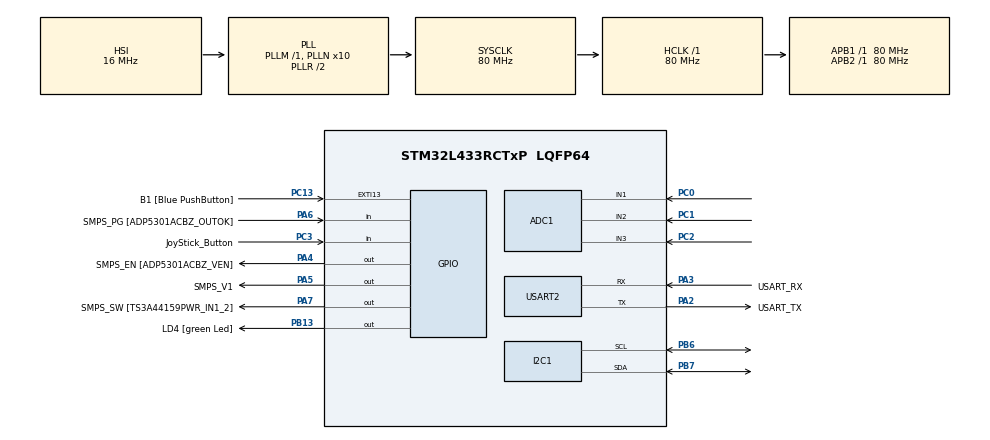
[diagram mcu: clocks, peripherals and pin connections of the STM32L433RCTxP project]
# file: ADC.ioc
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ADC1.Channel-1\#ChannelRegularConversion=ADC_CHANNEL_1
ADC1.Channel-4\#ChannelRegularConversion=ADC_CHANNEL_2
ADC1.Channel-5\#ChannelRegularConversion=ADC_CHANNEL_3
ADC1.ClockPrescaler=ADC_CLOCK_ASYNC_DIV4
ADC1.ContinuousConvMode=ENABLE
ADC1.EOCSelection=ADC_EOC_SINGLE_CONV
ADC1.NbrOfConversion=3
ADC1.NbrOfConversionFlag=1
ADC1.OffsetNumber-1\#ChannelRegularConversion=ADC_OFFSET_NONE
ADC1.OffsetNumber-4\#ChannelRegularConversion=ADC_OFFSET_NONE
ADC1.OffsetNumber-5\#ChannelRegularConversion=ADC_OFFSET_NONE
ADC1.Rank-1\#ChannelRegularConversion=1
ADC1.Rank-4\#ChannelRegularConversion=2
ADC1.Rank-5\#ChannelRegularConversion=3
ADC1.SamplingTime-1\#ChannelRegularConversion=ADC_SAMPLETIME_640CYCLES_5
ADC1.SamplingTime-4\#ChannelRegularConversion=ADC_SAMPLETIME_640CYCLES_5
ADC1.SamplingTime-5\#ChannelRegularConversion=ADC_SAMPLETIME_640CYCLES_5
ADC1.master=1
I2C1.Timing=0x10D19CE4
Mcu.Family=STM32L4
Mcu.Name=STM32L433RCTxP
Mcu.Package=LQFP64
NVIC.ADC1_IRQn=true\:0\:0\:false\:false\:true\:true\:true\:true
NVIC.PriorityGroup=NVIC_PRIORITYGROUP_4
NVIC.TIM6_DAC_IRQn=true\:0\:0\:false\:false\:true\:true\:true\:true
PA13\ (JTMS-SWDIO).GPIO_Label=TMS
PA13\ (JTMS-SWDIO).Mode=Serial_Wire
PA13\ (JTMS-SWDIO).Signal=SYS_JTMS-SWDIO
PA14\ (JTCK-SWCLK).GPIO_Label=TCK
PA14\ (JTCK-SWCLK).Mode=Serial_Wire
PA14\ (JTCK-SWCLK).Signal=SYS_JTCK-SWCLK
PA2.GPIO_Label=USART_TX
PA2.GPIO_Mode=GPIO_MODE_AF_PP
PA2.GPIO_PuPd=GPIO_NOPULL
PA2.GPIO_Speed=GPIO_SPEED_FREQ_VERY_HIGH
PA2.Mode=Asynchronous
PA2.Signal=USART2_TX
PA3.GPIO_Label=USART_RX
PA3.GPIO_Mode=GPIO_MODE_AF_PP
PA3.GPIO_PuPd=GPIO_NOPULL
PA3.GPIO_Speed=GPIO_SPEED_FREQ_VERY_HIGH
PA3.Mode=Asynchronous
PA3.Signal=USART2_RX
PA4.GPIO_Label=SMPS_EN [ADP5301ACBZ_VEN]
PA4.Signal=GPIO_Output
PA5.GPIO_Label=SMPS_V1
PA5.GPIO_ModeDefaultOutputPP=GPIO_MODE_OUTPUT_PP
PA5.GPIO_PuPd=GPIO_NOPULL
PA5.GPIO_Speed=GPIO_SPEED_FREQ_LOW
PA5.Signal=GPIO_Output
PA6.GPIO_Label=SMPS_PG [ADP5301ACBZ_OUTOK]
PA6.GPIO_PuPd=GPIO_PULLUP
PA6.Signal=GPIO_Input
PA7.GPIO_Label=SMPS_SW [TS3A44159PWR_IN1_2]
PA7.Signal=GPIO_Output
PB13.GPIO_Label=LD4 [green Led]
PB13.Signal=GPIO_Output
PB3\ (JTDO-TRACESWO).GPIO_Label=SWO
PB3\ (JTDO-TRACESWO).Signal=SYS_JTDO-SWO
PB6.Mode=I2C
PB6.Signal=I2C1_SCL
PB7.Mode=I2C
PB7.Signal=I2C1_SDA
PC0.Signal=ADCx_IN1
PC1.Signal=ADCx_IN2
PC13.GPIO_Label=B1 [Blue PushButton]
PC13.GPIO_ModeDefaultEXTI=GPIO_MODE_IT_FALLING
PC13.GPIO_PuPd=GPIO_NOPULL
PC13.Signal=GPXTI13
PC14-OSC32_IN\ (PC14).Mode=LSE-External-Oscillator
PC14-OSC32_IN\ (PC14).Signal=RCC_OSC32_IN
PC15-OSC32_OUT\ (PC15).Mode=LSE-External-Oscillator
PC15-OSC32_OUT\ (PC15).Signal=RCC_OSC32_OUT
PC2.Signal=ADCx_IN3
PC3.GPIO_Label=JoyStick_Button
PC3.Signal=GPIO_Input
PH0-OSC_IN\ (PH0).GPIO_Label=MCO
PH0-OSC_IN\ (PH0).Mode=HSE-External-Clock-Source
PH0-OSC_IN\ (PH0).Signal=RCC_OSC_IN
PH1-OSC_OUT\ (PH1).Signal=RCC_OSC_OUT
ProjectManager.HeapSize=0x200
ProjectManager.StackSize=0x400
ProjectManager.TargetToolchain=STM32CubeIDE
RCC.ADCFreq_Value=64000000
RCC.AHBFreq_Value=80000000
RCC.APB1Freq_Value=80000000
RCC.APB1TimFreq_Value=80000000
RCC.APB2Freq_Value=80000000
RCC.APB2TimFreq_Value=80000000
RCC.CortexFreq_Value=80000000
RCC.HCLKFreq_Value=80000000
RCC.HSE_VALUE=8000000
RCC.HSI48_VALUE=48000000
RCC.HSI_VALUE=16000000
RCC.MSI_VALUE=4000000
RCC.PLLN=10
RCC.PLLSourceVirtual=RCC_PLLSOURCE_HSI
RCC.PREFETCH_ENABLE=1
RCC.SYSCLKFreq_VALUE=80000000
RCC.SYSCLKSource=RCC_SYSCLKSOURCE_PLLCLK
RCC.USBFreq_Value=64000000
RCC.VCOOutputFreq_Value=160000000
SH.ADCx_IN1.0=ADC1_IN1,IN1-Single-Ended
SH.ADCx_IN2.0=ADC1_IN2,IN2-Single-Ended
SH.ADCx_IN3.0=ADC1_IN3,IN3-Single-Ended
TIM2.Prescaler=79
TIM6.Period=20000
TIM6.Prescaler=2000
USART2.VirtualMode-Asynchronous=VM_ASYNC
VP_TIM2_VS_ClockSourceINT.Mode=Internal
VP_TIM6_VS_ClockSourceINT.Mode=Enable_Timer
board=NUCLEO-L433RC-P

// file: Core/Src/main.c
/* USER CODE BEGIN Header */
/**
 ******************************************************************************
 * @file           : main.c
 * @brief          : Main program body
 ******************************************************************************
 * @attention
 *
 * Copyright (c) 2026 STMicroelectronics.
 * All rights reserved.
 *
 * This software is licensed under terms that can be found in the LICENSE file
 * in the root directory of this software component.
 * If no LICENSE file comes with this software, it is provided AS-IS.
 *
 ******************************************************************************
 */
/* USER CODE END Header */
#include "main.h"

/* USER CODE BEGIN Includes */
#include "adc.h"
#include "lcd.h"
#include <stdio.h>
#include <stdint.h>
#include <stdlib.h>
#define ADC_BUF_SIZE 3
#define JOY_X_IX 0
#define JOY_Y_IX 1
#define R_IX 1

/* USER CODE END Includes */

ADC_HandleTypeDef hadc1;

I2C_HandleTypeDef hi2c1;

TIM_HandleTypeDef htim2;
TIM_HandleTypeDef htim6;

UART_HandleTypeDef huart2;

/* USER CODE BEGIN PV */
TextLCDType lcd;
extern volatile uint16_t adc_buffer[ADC_BUF_SIZE];
extern volatile int ready;
extern int adc_buf_ix;
float value1 = 0.0;
float value2 = 0.0;

/* USER CODE END PV */

void SystemClock_Config(void);
static void MX_GPIO_Init(void);
static void MX_ADC1_Init(void);
static void MX_I2C1_Init(void);
static void MX_TIM2_Init(void);
static void MX_USART2_UART_Init(void);
static void MX_TIM6_Init(void);

int main(void)
{

  /* MCU Configuration--------------------------------------------------------*/

  /* Reset of all peripherals, Initializes the Flash interface and the Systick. */
  HAL_Init();

  /* Configure the system clock */
  SystemClock_Config();

  /* Initialize all configured peripherals */
  MX_GPIO_Init();
  MX_ADC1_Init();
  MX_I2C1_Init();
  MX_TIM2_Init();
  MX_USART2_UART_Init();
  MX_TIM6_Init();
  /* USER CODE BEGIN 2 */
  TextLCD_Init(&lcd, &hi2c1, 0x4E);
  HAL_ADC_Start_IT(&hadc1);
	TextLCD_Clear(&lcd);
	TextLCD_Position(&lcd, 0, 0);
	char buffer1[5];
	char buffer2[5];
	char buffer3[5];

  /* USER CODE END 2 */

  /* Infinite loop */
  /* USER CODE BEGIN WHILE */
	while (1) {
		if(ready)
		{
			ready = 0;
			//value1 = normalize_12bit(temp);
			//value2 = normalize_12bit_posneg(temp);
			float x = normalize_12bit_posneg(adc_buffer[0]);
			float light = normalize_12bit(adc_buffer[1]);
			float y = normalize_12bit_posneg(adc_buffer[2]);

			sprintf(buffer1, "%+.2fx", x);
			sprintf(buffer2, "%+.2fy",y);
			sprintf(buffer3, "%.2fL", light);

			TextLCD_Position(&lcd, 0, 0);
			TextLCD_PutStr(&lcd, buffer1);
			TextLCD_Position(&lcd, 0, 1);
			TextLCD_PutStr(&lcd, buffer2);
			TextLCD_Position(&lcd, 8, 1);
			TextLCD_PutStr(&lcd,buffer3);
		}

    /* USER CODE END WHILE */

	}
}

void SystemClock_Config(void)
{
  RCC_OscInitTypeDef RCC_OscInitStruct = {0};
  RCC_ClkInitTypeDef RCC_ClkInitStruct = {0};

  /** Configure the main internal regulator output voltage
  */
  if (HAL_PWREx_ControlVoltageScaling(PWR_REGULATOR_VOLTAGE_SCALE1) != HAL_OK)
  {
    Error_Handler();
  }

  /** Initializes the RCC Oscillators according to the specified parameters
  * in the RCC_OscInitTypeDef structure.
  */
  RCC_OscInitStruct.OscillatorType = RCC_OSCILLATORTYPE_HSI;
  RCC_OscInitStruct.HSIState = RCC_HSI_ON;
  RCC_OscInitStruct.HSICalibrationValue = RCC_HSICALIBRATION_DEFAULT;
  RCC_OscInitStruct.PLL.PLLState = RCC_PLL_ON;
  RCC_OscInitStruct.PLL.PLLSource = RCC_PLLSOURCE_HSI;
  RCC_OscInitStruct.PLL.PLLM = 1;
  RCC_OscInitStruct.PLL.PLLN = 10;
  RCC_OscInitStruct.PLL.PLLP = RCC_PLLP_DIV7;
  RCC_OscInitStruct.PLL.PLLQ = RCC_PLLQ_DIV2;
  RCC_OscInitStruct.PLL.PLLR = RCC_PLLR_DIV2;
  if (HAL_RCC_OscConfig(&RCC_OscInitStruct) != HAL_OK)
  {
    Error_Handler();
  }

  /** Initializes the CPU, AHB and APB buses clocks
  */
  RCC_ClkInitStruct.ClockType = RCC_CLOCKTYPE_HCLK|RCC_CLOCKTYPE_SYSCLK
                              |RCC_CLOCKTYPE_PCLK1|RCC_CLOCKTYPE_PCLK2;
  RCC_ClkInitStruct.SYSCLKSource = RCC_SYSCLKSOURCE_PLLCLK;
  RCC_ClkInitStruct.AHBCLKDivider = RCC_SYSCLK_DIV1;
  RCC_ClkInitStruct.APB1CLKDivider = RCC_HCLK_DIV1;
  RCC_ClkInitStruct.APB2CLKDivider = RCC_HCLK_DIV1;

  if (HAL_RCC_ClockConfig(&RCC_ClkInitStruct, FLASH_LATENCY_4) != HAL_OK)
  {
    Error_Handler();
  }
}

static void MX_ADC1_Init(void)
{

  ADC_ChannelConfTypeDef sConfig = {0};

  /** Common config
  */
  hadc1.Instance = ADC1;
  hadc1.Init.ClockPrescaler = ADC_CLOCK_ASYNC_DIV4;
  hadc1.Init.Resolution = ADC_RESOLUTION_12B;
  hadc1.Init.DataAlign = ADC_DATAALIGN_RIGHT;
  hadc1.Init.ScanConvMode = ADC_SCAN_ENABLE;
  hadc1.Init.EOCSelection = ADC_EOC_SINGLE_CONV;
  hadc1.Init.LowPowerAutoWait = DISABLE;
  hadc1.Init.ContinuousConvMode = ENABLE;
  hadc1.Init.NbrOfConversion = 3;
  hadc1.Init.DiscontinuousConvMode = DISABLE;
  hadc1.Init.ExternalTrigConv = ADC_SOFTWARE_START;
  hadc1.Init.ExternalTrigConvEdge = ADC_EXTERNALTRIGCONVEDGE_NONE;
  hadc1.Init.DMAContinuousRequests = DISABLE;
  hadc1.Init.Overrun = ADC_OVR_DATA_PRESERVED;
  hadc1.Init.OversamplingMode = DISABLE;
  if (HAL_ADC_Init(&hadc1) != HAL_OK)
  {
    Error_Handler();
  }

  /** Configure Regular Channel
  */
  sConfig.Channel = ADC_CHANNEL_1;
  sConfig.Rank = ADC_REGULAR_RANK_1;
  sConfig.SamplingTime = ADC_SAMPLETIME_640CYCLES_5;
  sConfig.SingleDiff = ADC_SINGLE_ENDED;
  sConfig.OffsetNumber = ADC_OFFSET_NONE;
  sConfig.Offset = 0;
  if (HAL_ADC_ConfigChannel(&hadc1, &sConfig) != HAL_OK)
  {
    Error_Handler();
  }

  /** Configure Regular Channel
  */
  sConfig.Channel = ADC_CHANNEL_2;
  sConfig.Rank = ADC_REGULAR_RANK_2;
  if (HAL_ADC_ConfigChannel(&hadc1, &sConfig) != HAL_OK)
  {
    Error_Handler();
  }

  /** Configure Regular Channel
  */
  sConfig.Channel = ADC_CHANNEL_3;
  sConfig.Rank = ADC_REGULAR_RANK_3;
  if (HAL_ADC_ConfigChannel(&hadc1, &sConfig) != HAL_OK)
  {
    Error_Handler();
  }

}

static void MX_I2C1_Init(void)
{

  hi2c1.Instance = I2C1;
  hi2c1.Init.Timing = 0x10D19CE4;
  hi2c1.Init.OwnAddress1 = 0;
  hi2c1.Init.AddressingMode = I2C_ADDRESSINGMODE_7BIT;
  hi2c1.Init.DualAddressMode = I2C_DUALADDRESS_DISABLE;
  hi2c1.Init.OwnAddress2 = 0;
  hi2c1.Init.OwnAddress2Masks = I2C_OA2_NOMASK;
  hi2c1.Init.GeneralCallMode = I2C_GENERALCALL_DISABLE;
  hi2c1.Init.NoStretchMode = I2C_NOSTRETCH_DISABLE;
  if (HAL_I2C_Init(&hi2c1) != HAL_OK)
  {
    Error_Handler();
  }

  /** Configure Analogue filter
  */
  if (HAL_I2CEx_ConfigAnalogFilter(&hi2c1, I2C_ANALOGFILTER_ENABLE) != HAL_OK)
  {
    Error_Handler();
  }

  /** Configure Digital filter
  */
  if (HAL_I2CEx_ConfigDigitalFilter(&hi2c1, 0) != HAL_OK)
  {
    Error_Handler();
  }

}

static void MX_TIM2_Init(void)
{

  TIM_ClockConfigTypeDef sClockSourceConfig = {0};
  TIM_MasterConfigTypeDef sMasterConfig = {0};

  htim2.Instance = TIM2;
  htim2.Init.Prescaler = 79;
  htim2.Init.CounterMode = TIM_COUNTERMODE_UP;
  htim2.Init.Period = 4294967295;
  htim2.Init.ClockDivision = TIM_CLOCKDIVISION_DIV1;
  htim2.Init.AutoReloadPreload = TIM_AUTORELOAD_PRELOAD_DISABLE;
  if (HAL_TIM_Base_Init(&htim2) != HAL_OK)
  {
    Error_Handler();
  }
  sClockSourceConfig.ClockSource = TIM_CLOCKSOURCE_INTERNAL;
  if (HAL_TIM_ConfigClockSource(&htim2, &sClockSourceConfig) != HAL_OK)
  {
    Error_Handler();
  }
  sMasterConfig.MasterOutputTrigger = TIM_TRGO_RESET;
  sMasterConfig.MasterSlaveMode = TIM_MASTERSLAVEMODE_DISABLE;
  if (HAL_TIMEx_MasterConfigSynchronization(&htim2, &sMasterConfig) != HAL_OK)
  {
    Error_Handler();
  }

}

static void MX_TIM6_Init(void)
{

  TIM_MasterConfigTypeDef sMasterConfig = {0};

  htim6.Instance = TIM6;
  htim6.Init.Prescaler = 2000;
  htim6.Init.CounterMode = TIM_COUNTERMODE_UP;
  htim6.Init.Period = 20000;
  htim6.Init.AutoReloadPreload = TIM_AUTORELOAD_PRELOAD_DISABLE;
  if (HAL_TIM_Base_Init(&htim6) != HAL_OK)
  {
    Error_Handler();
  }
  sMasterConfig.MasterOutputTrigger = TIM_TRGO_RESET;
  sMasterConfig.MasterSlaveMode = TIM_MASTERSLAVEMODE_DISABLE;
  if (HAL_TIMEx_MasterConfigSynchronization(&htim6, &sMasterConfig) != HAL_OK)
  {
    Error_Handler();
  }

}

static void MX_USART2_UART_Init(void)
{

  huart2.Instance = USART2;
  huart2.Init.BaudRate = 115200;
  huart2.Init.WordLength = UART_WORDLENGTH_8B;
  huart2.Init.StopBits = UART_STOPBITS_1;
  huart2.Init.Parity = UART_PARITY_NONE;
  huart2.Init.Mode = UART_MODE_TX_RX;
  huart2.Init.HwFlowCtl = UART_HWCONTROL_NONE;
  huart2.Init.OverSampling = UART_OVERSAMPLING_16;
  huart2.Init.OneBitSampling = UART_ONE_BIT_SAMPLE_DISABLE;
  huart2.AdvancedInit.AdvFeatureInit = UART_ADVFEATURE_NO_INIT;
  if (HAL_UART_Init(&huart2) != HAL_OK)
  {
    Error_Handler();
  }

}

static void MX_GPIO_Init(void)
{
  GPIO_InitTypeDef GPIO_InitStruct = {0};

  /* GPIO Ports Clock Enable */
  __HAL_RCC_GPIOC_CLK_ENABLE();
  __HAL_RCC_GPIOH_CLK_ENABLE();
  __HAL_RCC_GPIOA_CLK_ENABLE();
  __HAL_RCC_GPIOB_CLK_ENABLE();

  /*Configure GPIO pin Output Level */
  HAL_GPIO_WritePin(GPIOA, SMPS_EN_Pin|SMPS_V1_Pin|SMPS_SW_Pin, GPIO_PIN_RESET);

  /*Configure GPIO pin Output Level */
  HAL_GPIO_WritePin(LD4_GPIO_Port, LD4_Pin, GPIO_PIN_RESET);

  /*Configure GPIO pin : B1_Pin */
  GPIO_InitStruct.Pin = B1_Pin;
  GPIO_InitStruct.Mode = GPIO_MODE_IT_FALLING;
  GPIO_InitStruct.Pull = GPIO_NOPULL;
  HAL_GPIO_Init(B1_GPIO_Port, &GPIO_InitStruct);

  /*Configure GPIO pin : JoyStick_Button_Pin */
  GPIO_InitStruct.Pin = JoyStick_Button_Pin;
  GPIO_InitStruct.Mode = GPIO_MODE_INPUT;
  GPIO_InitStruct.Pull = GPIO_NOPULL;
  HAL_GPIO_Init(JoyStick_Button_GPIO_Port, &GPIO_InitStruct);

  /*Configure GPIO pins : SMPS_EN_Pin SMPS_V1_Pin SMPS_SW_Pin */
  GPIO_InitStruct.Pin = SMPS_EN_Pin|SMPS_V1_Pin|SMPS_SW_Pin;
  GPIO_InitStruct.Mode = GPIO_MODE_OUTPUT_PP;
  GPIO_InitStruct.Pull = GPIO_NOPULL;
  GPIO_InitStruct.Speed = GPIO_SPEED_FREQ_LOW;
  HAL_GPIO_Init(GPIOA, &GPIO_InitStruct);

  /*Configure GPIO pin : SMPS_PG_Pin */
  GPIO_InitStruct.Pin = SMPS_PG_Pin;
  GPIO_InitStruct.Mode = GPIO_MODE_INPUT;
  GPIO_InitStruct.Pull = GPIO_PULLUP;
  HAL_GPIO_Init(SMPS_PG_GPIO_Port, &GPIO_InitStruct);

  /*Configure GPIO pin : LD4_Pin */
  GPIO_InitStruct.Pin = LD4_Pin;
  GPIO_InitStruct.Mode = GPIO_MODE_OUTPUT_PP;
  GPIO_InitStruct.Pull = GPIO_NOPULL;
  GPIO_InitStruct.Speed = GPIO_SPEED_FREQ_LOW;
  HAL_GPIO_Init(LD4_GPIO_Port, &GPIO_InitStruct);

}

void Error_Handler(void)
{
	__disable_irq();
	while (1) {
	}
}
